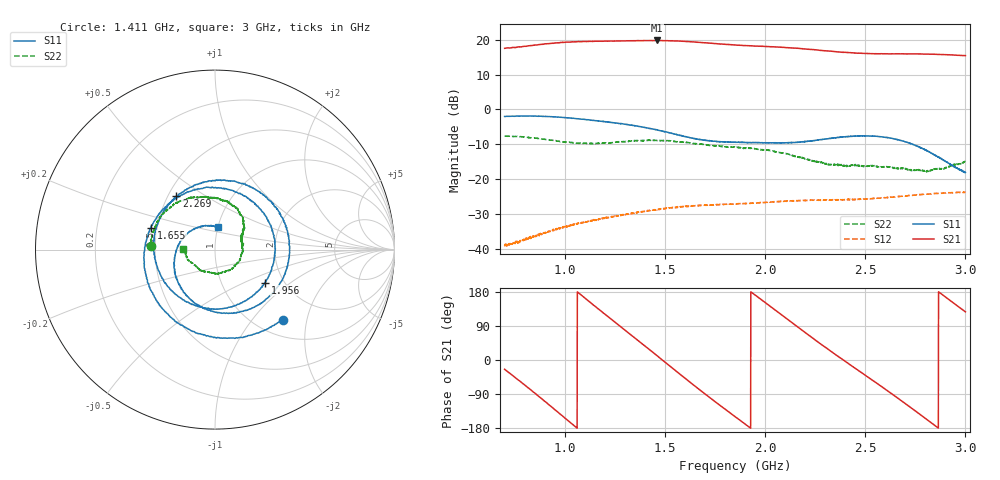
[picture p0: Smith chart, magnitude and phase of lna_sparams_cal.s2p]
#  HZ  S  RI  R  50.00
! Rohde & Schwarz Vector Network Analyzer
! Rohde-Schwarz,ZNB20-2Port,1311601062102243,3.20
! Created: UTC 10/31/2022, 10:12:04 AM
! freq[Hz]  re:S11  im:S11  re:S21  im:S21  re:S12  im:S12  re:S22  im:S22
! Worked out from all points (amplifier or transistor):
!   2301 points, 700 MHz to 3 GHz, reference 50 ohm
!   highest |S21| = 19.8 dB at 1.459 GHz (marker M1)
!   |S21| within 3 dB of that: start of sweep to 2.305 GHz (the widest 1 of 2)
!   unconditionally stable (mu >= 1): start of sweep to end of sweep
!   at 1.083 GHz: K = 1.26, MAG = 22.9 dB, |S12| = -32.5 dB
!   at 1.85 GHz: K = 1.29, MAG = 19.6 dB, |S12| = -27.1 dB
!   at 3 GHz: K = 1.41, MAG = 15.8 dB, |S12| = -23.8 dB
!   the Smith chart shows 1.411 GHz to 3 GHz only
!   S11 on the Smith chart (normalised r, x): 1.411 GHz: 1.31, -1.44; 1.655 GHz: 0.46, +0.13; 1.956 GHz: 1.61, -0.67; 2.269 GHz: 0.55, +0.38; 3 GHz: 1.00, +0.25
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7e8  0.7738 0.1713  6.843 -3.111  -0.0026 -0.0111  0.1911 0.3667
8.18e8  0.3513 -0.7204  2.306 -7.857  -0.0111 -0.00882  0.3394 0.1993
8.96e8  -0.3136 -0.7272  -2.545 -8.269  -0.0164 -0.00285  0.3711 0.0334
1.002e9  -0.7628 -0.0336  -8.214 -4.072  -0.0177 0.0109  0.2807 -0.1899
1.084e9  -0.5068 0.5156  -9.246 1.528  -0.0102 0.0214  0.1285 -0.2979
1.256e9  0.492 0.406  -1.253 9.524  0.0202 0.0214  -0.2284 -0.2502
1.333e9  0.5958 -0.0278  4.051 8.752  0.031 0.00936  -0.329 -0.1252
1.411e9  0.3765 -0.3899  8.181 5.196  0.0341 -0.00821  -0.3563 0.0198
1.459e9  0.1381 -0.4898  9.544 2.046  0.0308 -0.0198  -0.3435 0.1001
1.467e9  0.0952 -0.4923  9.624 1.426  0.0298 -0.0218  -0.3393 0.1146
1.553e9  -0.2941 -0.3269  8.455 -4.535  0.0131 -0.0364  -0.2646 0.2223
1.655e9  -0.3558 0.1224  3.047 -8.727  -0.0146 -0.0388  -0.1532 0.2829
1.743e9  -0.0743 0.34  -2.566 -8.445  -0.0347 -0.0247  -0.074 0.2909
1.85e9  0.2837 0.1852  -7.23 -4.298  -0.0439 0.00353  0.0102 0.2839
1.956e9  0.28 -0.1838  -7.951 1.51  -0.0327 0.0312  0.0827 0.2555
2.1e9  -0.1913 -0.2697  -2.888 7.175  0.0054 0.0479  0.1569 0.172
2.234e9  -0.2982 0.1923  3.682 6.226  0.0414 0.0279  0.1562 0.0972
2.269e9  -0.2159 0.2972  4.954 5.054  0.0461 0.0182  0.1531 0.0852
2.423e9  0.3048 0.2731  6.392 -1.354  0.0424 -0.0279  0.1479 0.0388
2.617e9  0.2398 -0.3082  0.7226 -6.232  -0.00978 -0.0537  0.1351 -0.0631
2.825e9  -0.2276 -0.078  -5.959 -1.729  -0.0609 -0.00416  -0.0477 -0.1237
3e9  0.0176 0.1233  -3.568 4.716  -0.0307 0.0571  -0.1803 0.00344
